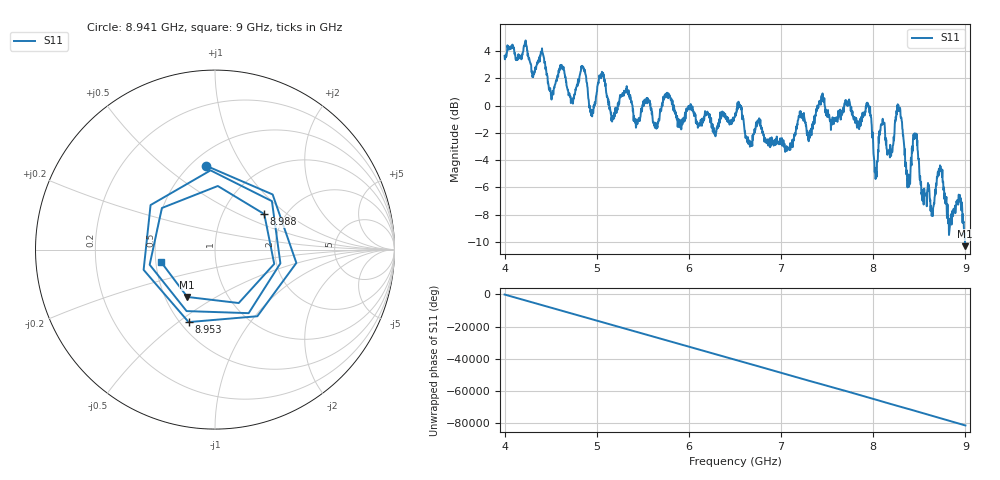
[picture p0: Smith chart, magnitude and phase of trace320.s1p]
! Created with skrf 1.8.0 (http://scikit-rf.org).
# Hz S RI R 50.0
!freq ReS11 ImS11
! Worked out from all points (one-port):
!   1601 points, 4 GHz to 9 GHz, reference 50 ohm
!   lowest |S11| = -10.3 dB at 8.997 GHz (marker M1), VSWR 1.88, Z = 32.3 - j18.8 ohm
!   |S11| at or under -10 dB: 8.995397 GHz to end of sweep
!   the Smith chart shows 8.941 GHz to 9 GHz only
!   S11 on the Smith chart (normalised r, x): 8.941 GHz: 0.59, +0.71; 8.953 GHz: 0.55, -0.55; 8.988 GHz: 1.57, +0.70; 9 GHz: 0.53, -0.08
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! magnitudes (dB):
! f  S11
! 4 GHz  3.6
! 4.409 GHz  3.9
! 4.506 GHz  0.7
! 4.625 GHz  2.8
! 4.731 GHz  0.3
! 4.856 GHz  2.8
! 4.944 GHz  -0.3
! 5.053 GHz  2.1
! 5.162 GHz  -0.9
! 5.25 GHz  0.6
! 5.875 GHz  -1.1
! 6.5 GHz  -0.8
! 7.125 GHz  -3.1
! 7.75 GHz  0.0
! 7.953 GHz  -0.1
! 8.028 GHz  -5.3
! 8.091 GHz  -1.3
! 8.278 GHz  -0.4
! 8.375 GHz  -5.3
! 8.456 GHz  -2.3
! 8.638 GHz  -7.8
! 8.725 GHz  -4.4
! 8.825 GHz  -9.3
! 8.941 GHz  -6.5
! 8.953 GHz  -7.3
! 8.988 GHz  -9.4
! 8.997 GHz  -10.3
! 9 GHz  -10.2
